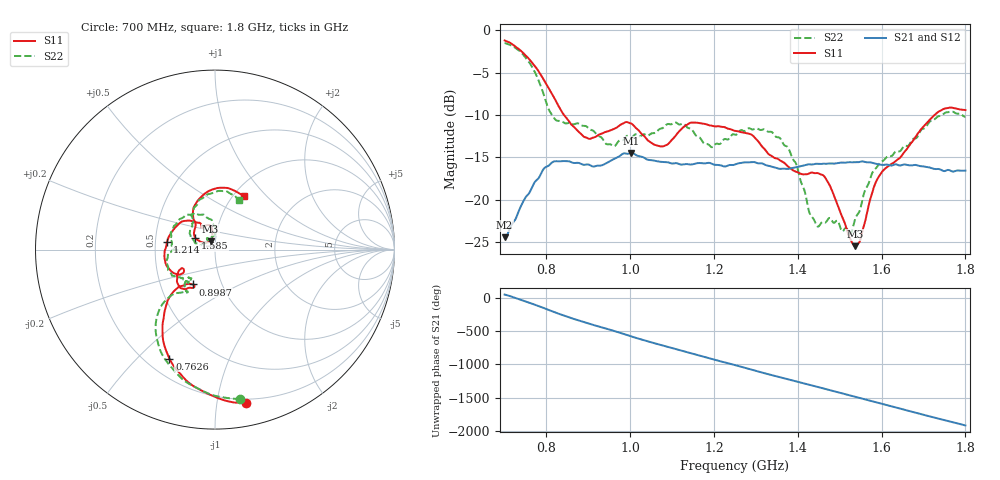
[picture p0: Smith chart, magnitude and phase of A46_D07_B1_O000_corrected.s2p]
! Created with skrf 1.9.0 (http://scikit-rf.org).
# Hz S RI R 50.0
!freq ReS11 ImS11 ReS21 ImS21 ReS12 ImS12 ReS22 ImS22
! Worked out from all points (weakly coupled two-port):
!   1601 points, 700 MHz to 1.8 GHz, reference 50 ohm
!   highest |S21| = -14.48 dB at 1.002 GHz (marker M1); lowest = -24.5 dB at 700 MHz (marker M2)
!   lowest |S11| = -25.5 dB at 1.536 GHz (marker M3), VSWR 1.11, Z = 47.4 + j4.44 ohm
!   |S11| at or under -10 dB: 841.9 MHz to 1.726 GHz (884.3 MHz wide, 68.9 % of centre)
!   |S22| runs from -24.1 to -1.5 dB; largest |S21 - S12| = 0.0035
!   S11 on the Smith chart (normalised r, x): 700 MHz: 0.17, -1.21; 762.6 MHz: 0.29, -0.63; 898.7 MHz: 0.73, -0.30; 1.214 GHz: 0.58, +0.06; 1.585 GHz: 0.80, +0.10; 1.8 GHz: 1.12, +0.75
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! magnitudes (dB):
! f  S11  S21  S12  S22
! 700 MHz  -1.2  -24.5  -24.2  -1.5
! 762.6 MHz  -3.6  -18.9  -18.8  -4.1
! 818.9 MHz  -8.0  -15.5  -15.6  -10.4
! 883.6 MHz  -12.3  -15.8  -15.7  -11.2
! 898.7 MHz  -12.8  -15.8  -15.9  -11.5
! 959.2 MHz  -11.7  -15.2  -15.2  -13.7
! 1.002 GHz  -11.0  -14.5  -14.6  -12.6
! 1.067 GHz  -13.6  -15.5  -15.4  -11.8
! 1.143 GHz  -10.9  -15.9  -15.8  -11.6
! 1.214 GHz  -11.4  -15.9  -15.9  -13.4
! 1.25 GHz  -11.9  -15.8  -15.8  -12.3
! 1.358 GHz  -15.4  -16.4  -16.3  -12.8
! 1.396 GHz  -16.7  -16.2  -16.2  -15.8
! 1.434 GHz  -16.8  -15.9  -15.8  -22.0
! 1.47 GHz  -17.8  -15.8  -15.7  -22.5
! 1.524 GHz  -24.6  -15.6  -15.6  -24.1
! 1.536 GHz  -25.5  -15.6  -15.6  -22.4
! 1.55 GHz  -24.7  -15.5  -15.5  -21.0
! 1.585 GHz  -18.0  -15.7  -15.8  -16.3
! 1.617 GHz  -16.0  -15.9  -15.9  -14.9
! 1.734 GHz  -9.7  -16.4  -16.4  -10.2
! 1.8 GHz  -9.4  -16.6  -16.6  -10.2
